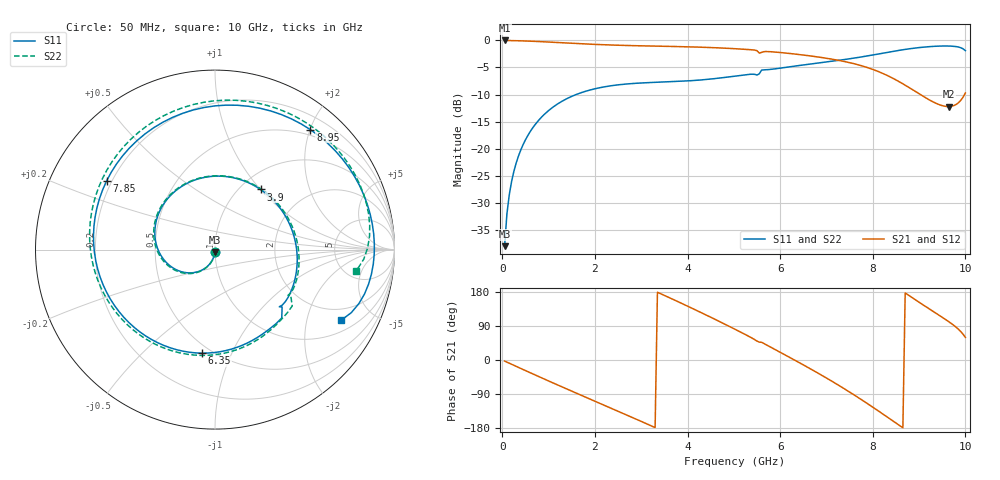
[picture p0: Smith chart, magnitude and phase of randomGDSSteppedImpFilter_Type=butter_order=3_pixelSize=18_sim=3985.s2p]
! freq	dB(S11)	phase(S11)	dB(S12)	phase(S12)
!  dB(S21)	phase(S21)	dB(S22)	phase(S22)
!S-par simulation data
#  GHz  S  DB  R 50
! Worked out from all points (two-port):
!   200 points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, 50 MHz to 10 GHz, reference 50 ohm
!   highest |S21| = -0.01 dB at 50 MHz (marker M1); lowest = -12.2 dB at 9.65 GHz (marker M2)
!   |S21| within 3 dB of the highest: start of sweep to 6.774 GHz
!   lowest |S11| = -38.0 dB at 50 MHz (marker M3), VSWR 1.03, Z = 49.9 - j1.25 ohm
!   |S11| at or under -10 dB: start of sweep to 1.594 GHz
!   |S22| runs from -38.0 to -1.1 dB; largest |S21 - S12| = 0
!   S11 on the Smith chart (normalised r, x): 50 MHz: 1.00, -0.03; 3.9 GHz: 1.23, +1.00; 6.35 GHz: 0.45, -0.78; 7.85 GHz: 0.18, +0.28; 8.95 GHz: 0.41, +2.01; 10 GHz: 1.44, -3.22
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0.05  -38.02 -92.4  -0.01 -2.9  -0.01 -2.9  -38.01 -92.3
0.1  -32.04 -95.5  -0.01 -5.7  -0.01 -5.7  -32.04 -95.3
0.2  -26.10 -101.5  -0.03 -11.3  -0.03 -11.3  -26.10 -101.2
0.5  -18.37 -118.9  -0.10 -27.9  -0.10 -27.9  -18.37 -118.0
1.15  -11.99 -155.2  -0.36 -63.5  -0.36 -63.5  -11.99 -153.0
1.75  -9.52 172.1  -0.63 -95.5  -0.63 -95.5  -9.53 175.6
2.65  -8.07 123.2  -0.93 -143.1  -0.93 -143.1  -8.08 129.1
3.4  -7.71 81.4  -1.07 176.1  -1.07 176.1  -7.71 89.6
3.9  -7.53 52.8  -1.16 147.9  -1.16 147.9  -7.53 62.2
4.5  -7.13 17.7  -1.31 112.9  -1.31 112.9  -7.13 27.8
5.05  -6.56 -15.2  -1.54 79.6  -1.54 79.6  -6.56 -5.2
5.8  -5.35 -61.0  -2.09 33.4  -2.09 33.4  -5.34 -51.6
6.35  -4.71 -97.3  -2.55 -2.7  -2.55 -2.7  -4.69 -87.8
6.7  -4.31 -121.5  -2.92 -26.5  -2.92 -26.5  -4.28 -111.4
7.3  -3.64 -166.5  -3.74 -69.4  -3.74 -69.4  -3.60 -154.0
7.85  -2.91 147.6  -4.92 -112.2  -4.92 -112.2  -2.89 164.0
8.35  -2.15 103.3  -6.63 -153.6  -6.63 -153.6  -2.16 123.2
8.65  -1.72 76.8  -8.02 -178.9  -8.02 -178.9  -1.75 98.3
8.95  -1.37 51.5  -9.59 156.4  -9.59 156.4  -1.41 73.9
9.3  -1.10 24.0  -11.35 128.5  -11.35 128.5  -1.15 46.7
9.65  -1.04 -1.6  -12.21 100.3  -12.21 100.3  -1.07 20.6
10  -1.89 -29.4  -9.70 59.5  -9.70 59.5  -1.98 -8.5
